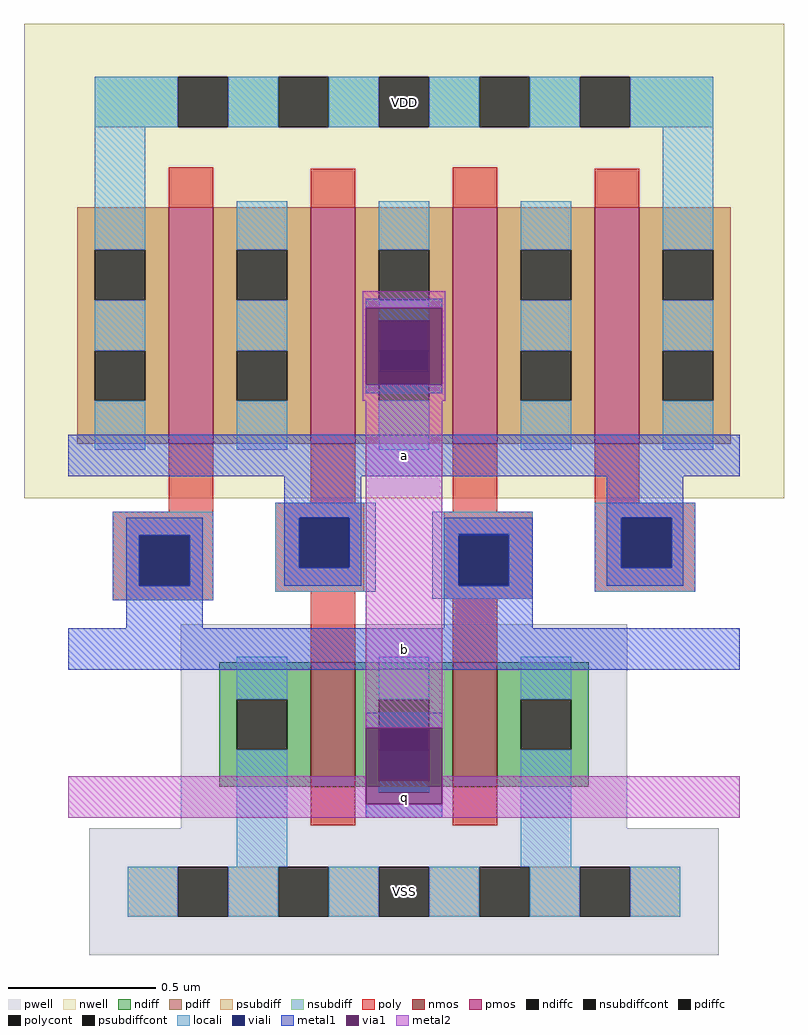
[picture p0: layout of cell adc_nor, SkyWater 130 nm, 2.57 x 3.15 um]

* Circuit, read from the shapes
.subckt adc_nor a b VSS VDD q
XM1 q a VSS VSS sky130_fd_pr__nfet_01v8 w=0.42 l=0.15
XM2 VSS b q VSS sky130_fd_pr__nfet_01v8 w=0.42 l=0.15
XM3 n1 b VDD VDD sky130_fd_pr__pfet_01v8 w=0.8 l=0.15
XM4 q a n1 VDD sky130_fd_pr__pfet_01v8 w=0.8 l=0.15
XM5 n2 b q VDD sky130_fd_pr__pfet_01v8 w=0.8 l=0.15
XM6 VDD a n2 VDD sky130_fd_pr__pfet_01v8 w=0.8 l=0.15
.ends

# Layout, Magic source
magic
tech sky130A
magscale 1 2
<< nwell >>
rect -8 69 506 390
<< pwell >>
rect 98 -154 400 -16
rect 36 -240 462 -154
<< nmos >>
rect 186 -126 216 -42
rect 282 -126 312 -42
<< pmos >>
rect 90 106 120 266
rect 186 106 216 266
rect 282 106 312 266
rect 378 106 408 266
<< ndiff >>
rect 124 -67 186 -42
rect 124 -101 136 -67
rect 170 -101 186 -67
rect 124 -126 186 -101
rect 216 -67 282 -42
rect 216 -101 232 -67
rect 266 -101 282 -67
rect 216 -126 282 -101
rect 312 -67 374 -42
rect 312 -101 328 -67
rect 362 -101 374 -67
rect 312 -126 374 -101
<< pdiff >>
rect 28 237 90 266
rect 28 203 40 237
rect 74 203 90 237
rect 28 169 90 203
rect 28 135 40 169
rect 74 135 90 169
rect 28 106 90 135
rect 120 237 186 266
rect 120 203 136 237
rect 170 203 186 237
rect 120 169 186 203
rect 120 135 136 169
rect 170 135 186 169
rect 120 106 186 135
rect 216 237 282 266
rect 216 203 232 237
rect 266 203 282 237
rect 216 169 282 203
rect 216 135 232 169
rect 266 135 282 169
rect 216 106 282 135
rect 312 237 378 266
rect 312 203 328 237
rect 362 203 378 237
rect 312 169 378 203
rect 312 135 328 169
rect 362 135 378 169
rect 312 106 378 135
rect 408 237 470 266
rect 408 203 424 237
rect 458 203 470 237
rect 408 169 470 203
rect 408 135 424 169
rect 458 135 470 169
rect 408 106 470 135
<< ndiffc >>
rect 136 -101 170 -67
rect 232 -101 266 -67
rect 328 -101 362 -67
<< pdiffc >>
rect 40 203 74 237
rect 40 135 74 169
rect 136 203 170 237
rect 136 135 170 169
rect 232 203 266 237
rect 232 135 266 169
rect 328 203 362 237
rect 328 135 362 169
rect 424 203 458 237
rect 424 135 458 169
<< psubdiff >>
rect 62 -214 96 -180
rect 130 -214 164 -180
rect 198 -214 232 -180
rect 266 -214 300 -180
rect 334 -214 368 -180
rect 402 -214 436 -180
<< nsubdiff >>
rect 40 320 96 354
rect 130 320 164 354
rect 198 320 232 354
rect 266 320 300 354
rect 334 320 368 354
rect 402 320 458 354
<< psubdiffcont >>
rect 96 -214 130 -180
rect 164 -214 198 -180
rect 232 -214 266 -180
rect 300 -214 334 -180
rect 368 -214 402 -180
<< nsubdiffcont >>
rect 96 320 130 354
rect 164 320 198 354
rect 232 320 266 354
rect 300 320 334 354
rect 368 320 402 354
<< poly >>
rect 90 266 120 293
rect 186 266 216 292
rect 282 266 312 293
rect 378 266 408 292
rect 90 60 120 106
rect 186 66 216 106
rect 52 44 120 60
rect 52 10 70 44
rect 104 10 120 44
rect 52 0 120 10
rect 162 56 222 66
rect 282 60 312 106
rect 378 66 408 106
rect 162 22 178 56
rect 212 22 222 56
rect 162 6 222 22
rect 276 45 336 60
rect 276 11 286 45
rect 320 11 336 45
rect 186 -42 216 6
rect 276 1 336 11
rect 378 56 446 66
rect 378 22 396 56
rect 430 22 446 56
rect 378 6 446 22
rect 282 -42 312 1
rect 186 -152 216 -126
rect 282 -152 312 -126
<< polycont >>
rect 70 10 104 44
rect 178 22 212 56
rect 286 11 320 45
rect 396 22 430 56
<< locali >>
rect 40 320 96 354
rect 130 320 164 354
rect 198 320 232 354
rect 266 320 300 354
rect 334 320 368 354
rect 402 320 458 354
rect 40 237 74 320
rect 40 169 74 203
rect 40 102 74 135
rect 136 237 170 270
rect 136 169 170 203
rect 136 102 170 135
rect 232 237 266 270
rect 232 189 266 203
rect 232 102 266 135
rect 328 237 362 270
rect 328 169 362 203
rect 328 102 362 135
rect 424 237 458 320
rect 424 169 458 203
rect 424 102 458 135
rect 52 44 120 60
rect 52 10 70 44
rect 104 10 120 44
rect 52 0 120 10
rect 162 56 230 66
rect 162 22 178 56
rect 212 22 230 56
rect 162 6 230 22
rect 268 45 336 60
rect 268 10 286 45
rect 320 10 336 45
rect 268 1 336 10
rect 378 56 446 66
rect 378 22 396 56
rect 430 22 446 56
rect 378 6 446 22
rect 136 -67 170 -38
rect 136 -180 170 -101
rect 232 -67 266 -38
rect 232 -130 266 -122
rect 328 -67 362 -38
rect 328 -180 362 -101
rect 62 -214 96 -180
rect 130 -214 164 -180
rect 198 -214 232 -180
rect 266 -214 300 -180
rect 334 -214 368 -180
rect 402 -214 436 -180
<< viali >>
rect 232 169 266 189
rect 232 155 266 169
rect 70 10 104 44
rect 178 22 212 56
rect 286 11 320 44
rect 286 10 320 11
rect 396 22 430 56
rect 232 -101 266 -88
rect 232 -122 266 -101
<< metal1 >>
rect 223 198 275 204
rect 223 140 275 146
rect 22 84 476 112
rect 168 56 220 84
rect 386 56 438 84
rect 61 44 113 56
rect 61 10 70 44
rect 104 10 113 44
rect 168 22 178 56
rect 212 22 220 56
rect 168 10 220 22
rect 276 44 336 56
rect 276 10 286 44
rect 320 10 336 44
rect 386 22 396 56
rect 430 22 438 56
rect 386 10 438 22
rect 61 -19 113 10
rect 276 -19 336 10
rect 22 -47 476 -19
rect 223 -86 275 -76
rect 223 -147 275 -138
<< via1 >>
rect 223 189 275 198
rect 223 155 232 189
rect 232 155 266 189
rect 266 155 275 189
rect 223 146 275 155
rect 223 -88 275 -86
rect 223 -122 232 -88
rect 232 -122 266 -88
rect 266 -122 275 -88
rect 223 -138 275 -122
<< metal2 >>
rect 221 198 277 209
rect 221 146 223 198
rect 275 146 277 198
rect 221 135 277 146
rect 223 -86 275 135
rect 22 -138 223 -119
rect 275 -138 476 -119
rect 22 -147 476 -138
<< labels >>
flabel metal1 s 22 84 476 112 0 FreeSans 200 0 0 0 a
port 1 nsew
flabel metal1 s 22 -47 476 -19 0 FreeSans 200 0 0 0 b
port 2 nsew
flabel locali s 62 -214 436 -180 0 FreeSans 200 0 0 0 VSS
port 3 nsew
flabel locali s 40 320 458 354 0 FreeSans 200 0 0 0 VDD
port 4 nsew
flabel metal2 s 22 -147 476 -119 0 FreeSans 200 0 0 0 q
port 5 nsew
<< properties >>
string GDS_END 530290
string GDS_FILE adc_top.gds.gz
string GDS_START 524212
<< end >>
